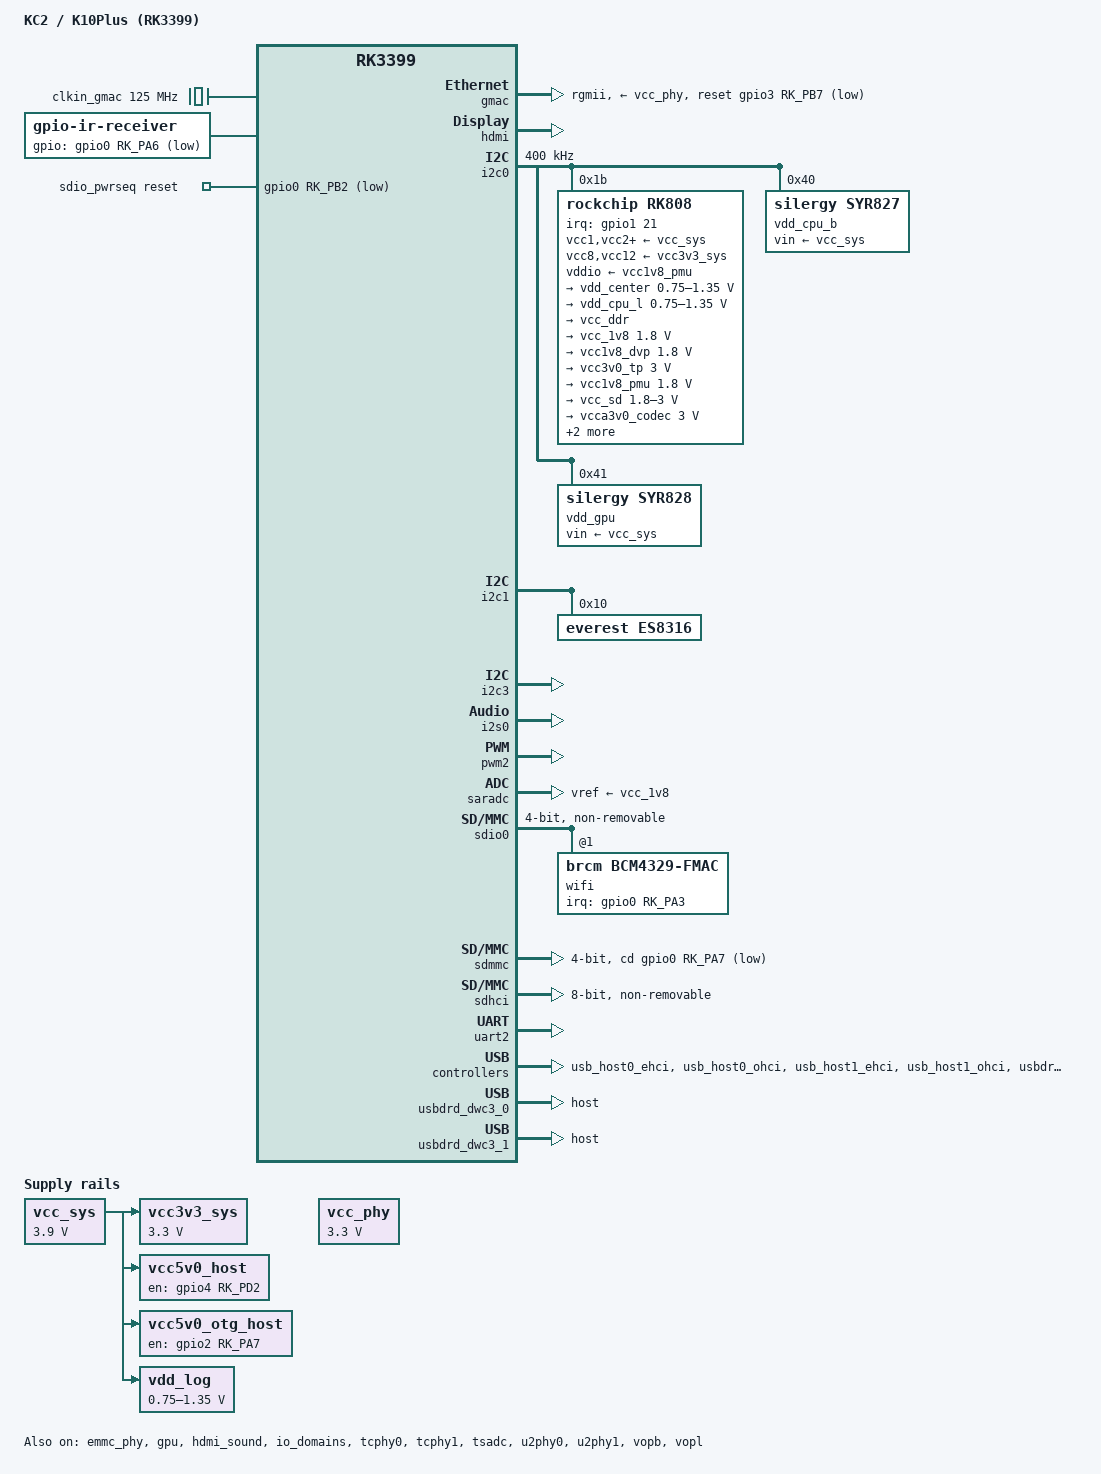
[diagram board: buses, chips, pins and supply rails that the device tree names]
// SPDX-License-Identifier: (GPL-2.0+ OR MIT)
/*
 * KC2 / K10Plus - RK3399 HDMI TV box (RK808 PMIC, AP6354 WiFi, GbE RGMII).
 *
 * Ported to mainline from the stock Android BSP device tree
 * (custom-model/kc2-k10plus_fdt.dtb, kernel 4.19), using rk3399-firefly.dts
 * as the schematic base - the boards share pinout for PMIC interrupt
 * (GPIO1_C5), WiFi enable (GPIO0_B2), WiFi host-wake (GPIO0_A3), gmac phy
 * reset (GPIO3_B7, rx_delay 0x11), USB host vbus (GPIO4_D2) and the IR
 * receiver pin (GPIO0_A6 = PWM3).
 *
 * The stock BSP used the pwm-remotectl capture driver for IR, which does not
 * exist on mainline kernels; the receiver is wired to gpio-ir-receiver
 * instead.  Keymap: /etc/rc_keymaps/haigesen3528.toml (packages/bsp/kc2-k10plus).
 */

/dts-v1/;
#include <dt-bindings/interrupt-controller/irq.h>
#include <dt-bindings/pwm/pwm.h>
#include "rk3399.dtsi"

/ {
	model = "KC2 / K10Plus (RK3399)";
	compatible = "rockchip,rk3399-kc2", "rockchip,rk3399";

	aliases {
		ethernet0 = &gmac;
		mmc0 = &sdio0;
		mmc1 = &sdmmc;
		mmc2 = &sdhci;
	};

	chosen {
		stdout-path = "serial2:1500000n8";
	};

	clkin_gmac: external-gmac-clock {
		compatible = "fixed-clock";
		clock-frequency = <125000000>;
		clock-output-names = "clkin_gmac";
		#clock-cells = <0>;
	};

	/* IR receiver on PWM3 pin (GPIO0_A6); stock BSP used pwm-remotectl here */
	ir-receiver {
		compatible = "gpio-ir-receiver";
		gpios = <&gpio0 RK_PA6 GPIO_ACTIVE_LOW>;
		pinctrl-names = "default";
		pinctrl-0 = <&ir_int>;
	};

	sdio_pwrseq: sdio-pwrseq {
		compatible = "mmc-pwrseq-simple";
		clocks = <&rk808 1>;
		clock-names = "ext_clock";
		pinctrl-names = "default";
		pinctrl-0 = <&wifi_enable_h>;
		reset-gpios = <&gpio0 RK_PB2 GPIO_ACTIVE_LOW>;
	};

	/* main 3.9V rail, per stock fdt */
	vcc_sys: vcc-sys {
		compatible = "regulator-fixed";
		regulator-name = "vcc_sys";
		regulator-always-on;
		regulator-boot-on;
		regulator-min-microvolt = <3900000>;
		regulator-max-microvolt = <3900000>;
	};

	vcc3v3_sys: vcc3v3-sys {
		compatible = "regulator-fixed";
		regulator-name = "vcc3v3_sys";
		regulator-always-on;
		regulator-boot-on;
		regulator-min-microvolt = <3300000>;
		regulator-max-microvolt = <3300000>;
		vin-supply = <&vcc_sys>;
	};

	vcc_phy: vcc-phy-regulator {
		compatible = "regulator-fixed";
		regulator-name = "vcc_phy";
		regulator-always-on;
		regulator-boot-on;
		regulator-min-microvolt = <3300000>;
		regulator-max-microvolt = <3300000>;
	};

	/* USB-A host port vbus (per stock fdt: GPIO4_D2) */
	vcc5v0_host: vcc5v0-host-regulator {
		compatible = "regulator-fixed";
		enable-active-high;
		gpio = <&gpio4 RK_PD2 GPIO_ACTIVE_HIGH>;
		pinctrl-names = "default";
		pinctrl-0 = <&vcc5v0_host_en>;
		regulator-name = "vcc5v0_host";
		regulator-always-on;
		vin-supply = <&vcc_sys>;
	};

	/* OTG-role port vbus driven as host (per stock fdt: GPIO2_A7) */
	vcc5v0_otg_host: vcc5v0-otg-host-regulator {
		compatible = "regulator-fixed";
		enable-active-high;
		gpio = <&gpio2 RK_PA7 GPIO_ACTIVE_HIGH>;
		pinctrl-names = "default";
		pinctrl-0 = <&vcc5v0_otg_host_en>;
		regulator-name = "vcc5v0_otg_host";
		regulator-always-on;
		vin-supply = <&vcc_sys>;
	};

	vdd_log: vdd-log {
		compatible = "pwm-regulator";
		pwms = <&pwm2 0 25000 PWM_POLARITY_INVERTED>;
		pwm-supply = <&vcc_sys>;
		regulator-name = "vdd_log";
		regulator-always-on;
		regulator-boot-on;
		regulator-min-microvolt = <750000>;
		regulator-max-microvolt = <1350000>;
	};

	es8316_sound: es8316-sound {
		status = "okay";
		compatible = "simple-audio-card";
		simple-audio-card,format = "i2s";
		simple-audio-card,name = "rockchip,es8316-codec";
		simple-audio-card,mclk-fs = <256>;
		simple-audio-card,widgets =
			"Microphone", "Mic Jack",
			"Headphone", "Headphone Jack";
		simple-audio-card,routing =
			"Mic Jack", "MICBIAS1",
			"IN1P", "Mic Jack",
			"Headphone Jack", "HPOL",
			"Headphone Jack", "HPOR";

		simple-audio-card,cpu {
			sound-dai = <&i2s0>;
		};

		simple-audio-card,codec {
			sound-dai = <&es8316>;
		};
	};
};

&cpu_l0 {
	cpu-supply = <&vdd_cpu_l>;
};

&cpu_l1 {
	cpu-supply = <&vdd_cpu_l>;
};

&cpu_l2 {
	cpu-supply = <&vdd_cpu_l>;
};

&cpu_l3 {
	cpu-supply = <&vdd_cpu_l>;
};

&cpu_b0 {
	cpu-supply = <&vdd_cpu_b>;
};

&cpu_b1 {
	cpu-supply = <&vdd_cpu_b>;
};

&emmc_phy {
	status = "okay";
};

&gmac {
	assigned-clocks = <&cru SCLK_RMII_SRC>;
	assigned-clock-parents = <&clkin_gmac>;
	clock_in_out = "input";
	phy-supply = <&vcc_phy>;
	phy-mode = "rgmii";
	pinctrl-names = "default";
	pinctrl-0 = <&rgmii_pins>;
	snps,reset-gpio = <&gpio3 RK_PB7 GPIO_ACTIVE_LOW>;
	snps,reset-active-low;
	snps,reset-delays-us = <0 10000 50000>;
	rx_delay = <0x11>;
	status = "okay";
};

&gpu {
	mali-supply = <&vdd_gpu>;
	status = "okay";
};

&hdmi {
	ddc-i2c-bus = <&i2c3>;
	pinctrl-names = "default";
	pinctrl-0 = <&hdmi_cec>;
	status = "okay";
};

&hdmi_sound {
	status = "okay";
};

&i2c0 {
	clock-frequency = <400000>;
	i2c-scl-rising-time-ns = <168>;
	i2c-scl-falling-time-ns = <4>;
	status = "okay";

	rk808: pmic@1b {
		compatible = "rockchip,rk808";
		reg = <0x1b>;
		interrupt-parent = <&gpio1>;
		interrupts = <21 IRQ_TYPE_LEVEL_LOW>;
		#clock-cells = <1>;
		clock-output-names = "xin32k", "rk808-clkout2";
		pinctrl-names = "default";
		pinctrl-0 = <&pmic_int_l>;
		rockchip,system-power-controller;
		wakeup-source;

		vcc1-supply = <&vcc_sys>;
		vcc2-supply = <&vcc_sys>;
		vcc3-supply = <&vcc_sys>;
		vcc4-supply = <&vcc_sys>;
		vcc6-supply = <&vcc_sys>;
		vcc7-supply = <&vcc_sys>;
		vcc8-supply = <&vcc3v3_sys>;
		vcc9-supply = <&vcc_sys>;
		vcc10-supply = <&vcc_sys>;
		vcc11-supply = <&vcc_sys>;
		vcc12-supply = <&vcc3v3_sys>;
		vddio-supply = <&vcc1v8_pmu>;

		regulators {
			vdd_center: DCDC_REG1 {
				regulator-name = "vdd_center";
				regulator-always-on;
				regulator-boot-on;
				regulator-min-microvolt = <750000>;
				regulator-max-microvolt = <1350000>;
				regulator-ramp-delay = <6001>;
				regulator-state-mem {
					regulator-off-in-suspend;
				};
			};

			vdd_cpu_l: DCDC_REG2 {
				regulator-name = "vdd_cpu_l";
				regulator-always-on;
				regulator-boot-on;
				regulator-min-microvolt = <750000>;
				regulator-max-microvolt = <1350000>;
				regulator-ramp-delay = <6001>;
				regulator-state-mem {
					regulator-off-in-suspend;
				};
			};

			vcc_ddr: DCDC_REG3 {
				regulator-name = "vcc_ddr";
				regulator-always-on;
				regulator-boot-on;
				regulator-state-mem {
					regulator-on-in-suspend;
				};
			};

			vcc_1v8: DCDC_REG4 {
				regulator-name = "vcc_1v8";
				regulator-always-on;
				regulator-boot-on;
				regulator-min-microvolt = <1800000>;
				regulator-max-microvolt = <1800000>;
				regulator-state-mem {
					regulator-on-in-suspend;
					regulator-suspend-microvolt = <1800000>;
				};
			};

			vcc1v8_dvp: LDO_REG1 {
				regulator-name = "vcc1v8_dvp";
				regulator-always-on;
				regulator-boot-on;
				regulator-min-microvolt = <1800000>;
				regulator-max-microvolt = <1800000>;
				regulator-state-mem {
					regulator-off-in-suspend;
				};
			};

			vcc3v0_tp: LDO_REG2 {
				regulator-name = "vcc3v0_tp";
				regulator-always-on;
				regulator-boot-on;
				regulator-min-microvolt = <3000000>;
				regulator-max-microvolt = <3000000>;
				regulator-state-mem {
					regulator-off-in-suspend;
				};
			};

			vcc1v8_pmu: LDO_REG3 {
				regulator-name = "vcc1v8_pmu";
				regulator-always-on;
				regulator-boot-on;
				regulator-min-microvolt = <1800000>;
				regulator-max-microvolt = <1800000>;
				regulator-state-mem {
					regulator-on-in-suspend;
					regulator-suspend-microvolt = <1800000>;
				};
			};

			vcc_sd: LDO_REG4 {
				regulator-name = "vcc_sd";
				regulator-always-on;
				regulator-boot-on;
				regulator-min-microvolt = <1800000>;
				regulator-max-microvolt = <3000000>;
				regulator-state-mem {
					regulator-on-in-suspend;
					regulator-suspend-microvolt = <3000000>;
				};
			};

			vcca3v0_codec: LDO_REG5 {
				regulator-name = "vcca3v0_codec";
				regulator-always-on;
				regulator-boot-on;
				regulator-min-microvolt = <3000000>;
				regulator-max-microvolt = <3000000>;
				regulator-state-mem {
					regulator-off-in-suspend;
				};
			};

			vcc_1v5: LDO_REG6 {
				regulator-name = "vcc_1v5";
				regulator-always-on;
				regulator-boot-on;
				regulator-min-microvolt = <1500000>;
				regulator-max-microvolt = <1500000>;
				regulator-state-mem {
					regulator-on-in-suspend;
					regulator-suspend-microvolt = <1500000>;
				};
			};

			vcca1v8_codec: LDO_REG7 {
				regulator-name = "vcca1v8_codec";
				regulator-always-on;
				regulator-boot-on;
				regulator-min-microvolt = <1800000>;
				regulator-max-microvolt = <1800000>;
				regulator-state-mem {
					regulator-off-in-suspend;
				};
			};

			vcc_3v0: LDO_REG8 {
				regulator-name = "vcc_3v0";
				regulator-always-on;
				regulator-boot-on;
				regulator-min-microvolt = <3000000>;
				regulator-max-microvolt = <3000000>;
				regulator-state-mem {
					regulator-on-in-suspend;
					regulator-suspend-microvolt = <3000000>;
				};
			};

			vcc3v3_s3: SWITCH_REG1 {
				regulator-name = "vcc3v3_s3";
				regulator-always-on;
				regulator-boot-on;
				regulator-state-mem {
					regulator-off-in-suspend;
				};
			};

			vcc3v3_s0: SWITCH_REG2 {
				regulator-name = "vcc3v3_s0";
				regulator-always-on;
				regulator-boot-on;
				regulator-state-mem {
					regulator-off-in-suspend;
				};
			};
		};
	};

	vdd_cpu_b: regulator@40 {
		compatible = "silergy,syr827";
		reg = <0x40>;
		fcs,suspend-voltage-selector = <1>;
		regulator-name = "vdd_cpu_b";
		regulator-min-microvolt = <712500>;
		regulator-max-microvolt = <1500000>;
		regulator-ramp-delay = <1000>;
		regulator-always-on;
		regulator-boot-on;
		vin-supply = <&vcc_sys>;

		regulator-state-mem {
			regulator-off-in-suspend;
		};
	};

	vdd_gpu: regulator@41 {
		compatible = "silergy,syr828";
		reg = <0x41>;
		fcs,suspend-voltage-selector = <1>;
		regulator-name = "vdd_gpu";
		regulator-min-microvolt = <712500>;
		regulator-max-microvolt = <1500000>;
		regulator-ramp-delay = <1000>;
		regulator-always-on;
		regulator-boot-on;
		vin-supply = <&vcc_sys>;

		regulator-state-mem {
			regulator-off-in-suspend;
		};
	};
};

&i2c1 {
	i2c-scl-rising-time-ns = <300>;
	i2c-scl-falling-time-ns = <15>;
	status = "okay";

	es8316: codec@10 {
		compatible = "everest,es8316";
		reg = <0x10>;
		clocks = <&cru SCLK_I2S_8CH_OUT>;
		clock-names = "mclk";
		#sound-dai-cells = <0>;
		pinctrl-names = "default";
		pinctrl-0 = <&es8316_mclk_pin>;
	};
};

&i2c3 {
	i2c-scl-rising-time-ns = <450>;
	i2c-scl-falling-time-ns = <15>;
	status = "okay";
};

&i2s0 {
	rockchip,playback-channels = <8>;
	rockchip,capture-channels = <8>;
	status = "okay";
};

&io_domains {
	status = "okay";

	bt656-supply = <&vcc1v8_dvp>;
	audio-supply = <&vcca1v8_codec>;
	sdmmc-supply = <&vcc_sd>;
	gpio1830-supply = <&vcc_3v0>;
};

&pmu_io_domains {
	pmu1830-supply = <&vcc_1v8>;
	status = "okay";
};

&pinctrl {
	kc2-audio {
		es8316_mclk_pin: es8316-mclk-pin {
			rockchip,pins = <4 RK_PA0 1 &pcfg_pull_none>;
		};
	};

	ir {
		ir_int: ir-int {
			rockchip,pins = <0 RK_PA6 RK_FUNC_GPIO &pcfg_pull_none>;
		};
	};

	pmic {
		pmic_int_l: pmic-int-l {
			rockchip,pins = <1 RK_PC5 RK_FUNC_GPIO &pcfg_pull_up>;
		};

		vsel1_pin: vsel1-pin {
			rockchip,pins = <1 RK_PC2 RK_FUNC_GPIO &pcfg_pull_down>;
		};

		vsel2_pin: vsel2-pin {
			rockchip,pins = <1 RK_PB6 RK_FUNC_GPIO &pcfg_pull_down>;
		};
	};

	sdio-pwrseq {
		wifi_enable_h: wifi-enable-h {
			rockchip,pins = <0 RK_PB2 RK_FUNC_GPIO &pcfg_pull_none>;
		};
	};

	usb2 {
		vcc5v0_host_en: vcc5v0-host-en {
			rockchip,pins = <4 RK_PD2 RK_FUNC_GPIO &pcfg_pull_none>;
		};

		vcc5v0_otg_host_en: vcc5v0-otg-host-en {
			rockchip,pins = <2 RK_PA7 RK_FUNC_GPIO &pcfg_pull_none>;
		};
	};

	wifi {
		wifi_host_wake_l: wifi-host-wake-l {
			rockchip,pins = <0 RK_PA3 RK_FUNC_GPIO &pcfg_pull_none>;
		};
	};
};

&pwm2 {
	status = "okay";
};

&saradc {
	vref-supply = <&vcc_1v8>;
	status = "okay";
};

&sdio0 {
	/* WiFi & BT combo module Ampak AP6354 */
	bus-width = <4>;
	cap-sdio-irq;
	cap-sd-highspeed;
	keep-power-in-suspend;
	mmc-pwrseq = <&sdio_pwrseq>;
	non-removable;
	pinctrl-names = "default";
	pinctrl-0 = <&sdio0_bus4 &sdio0_cmd &sdio0_clk>;
	sd-uhs-sdr104;

	#address-cells = <1>;
	#size-cells = <0>;
	status = "okay";

	wifi@1 {
		reg = <1>;
		compatible = "brcm,bcm4329-fmac";
		interrupt-parent = <&gpio0>;
		interrupts = <RK_PA3 IRQ_TYPE_LEVEL_HIGH>;
		interrupt-names = "host-wake";
		pinctrl-names = "default";
		pinctrl-0 = <&wifi_host_wake_l>;
	};
};

&sdmmc {
	bus-width = <4>;
	cap-mmc-highspeed;
	cap-sd-highspeed;
	cd-gpios = <&gpio0 RK_PA7 GPIO_ACTIVE_LOW>;
	disable-wp;
	max-frequency = <150000000>;
	pinctrl-names = "default";
	pinctrl-0 = <&sdmmc_clk &sdmmc_cmd &sdmmc_bus4>;
	vqmmc-supply = <&vcc_sd>;
	status = "okay";
};

&sdhci {
	bus-width = <8>;
	mmc-hs400-1_8v;
	mmc-hs400-enhanced-strobe;
	non-removable;
	status = "okay";
};

&tcphy0 {
	status = "okay";
};

&tcphy1 {
	status = "okay";
};

&tsadc {
	/* tshut mode 0:CRU 1:GPIO */
	rockchip,hw-tshut-mode = <1>;
	/* tshut polarity 0:LOW 1:HIGH */
	rockchip,hw-tshut-polarity = <1>;
	status = "okay";
};

&u2phy0 {
	status = "okay";

	u2phy0_otg: otg-port {
		vbus-supply = <&vcc5v0_otg_host>;
		status = "okay";
	};

	u2phy0_host: host-port {
		phy-supply = <&vcc5v0_host>;
		status = "okay";
	};
};

&u2phy1 {
	status = "okay";

	u2phy1_otg: otg-port {
		vbus-supply = <&vcc5v0_otg_host>;
		status = "okay";
	};

	u2phy1_host: host-port {
		phy-supply = <&vcc5v0_host>;
		status = "okay";
	};
};

&uart2 {
	status = "okay";
};

&usb_host0_ehci {
	status = "okay";
};

&usb_host0_ohci {
	status = "okay";
};

&usb_host1_ehci {
	status = "okay";
};

&usb_host1_ohci {
	status = "okay";
};

&usbdrd3_0 {
	status = "okay";
};

&usbdrd_dwc3_0 {
	status = "okay";
	dr_mode = "host";
};

&usbdrd3_1 {
	status = "okay";
};

&usbdrd_dwc3_1 {
	status = "okay";
	dr_mode = "host";
};

&vopb {
	status = "okay";
};

&vopb_mmu {
	status = "okay";
};

&vopl {
	status = "okay";
};

&vopl_mmu {
	status = "okay";
};
